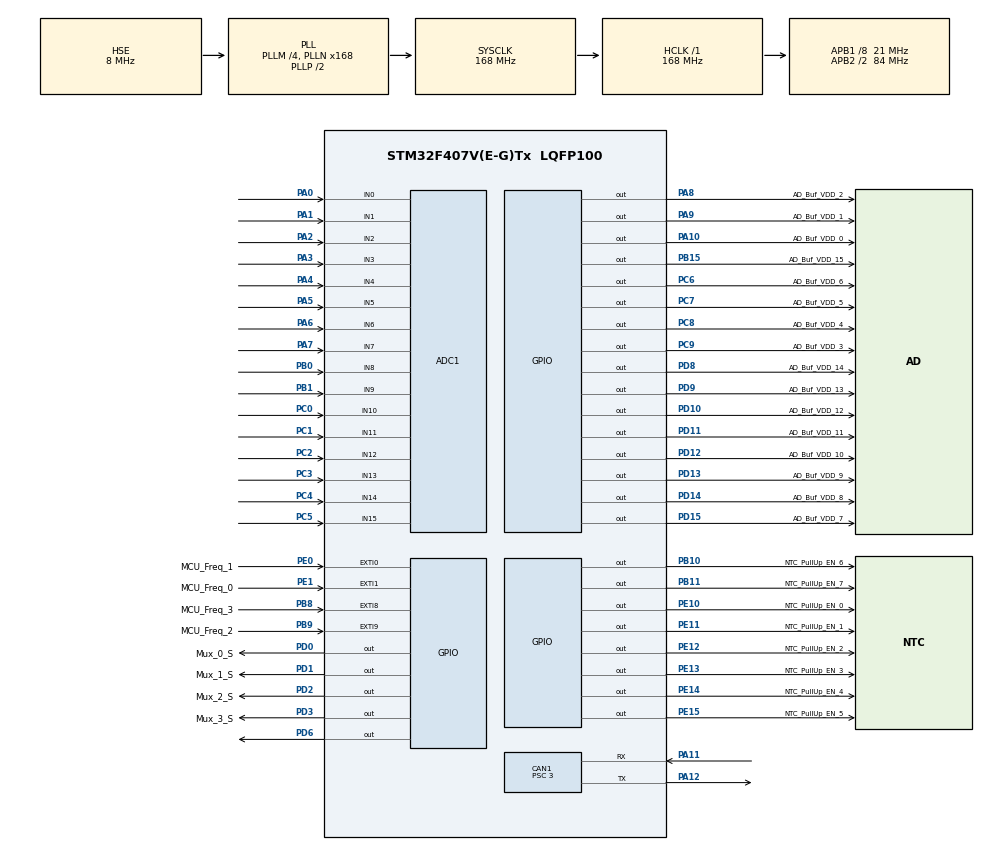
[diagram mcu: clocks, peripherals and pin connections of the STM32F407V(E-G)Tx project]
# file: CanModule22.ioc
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ADC1.Channel-0\#ChannelRegularConversion=ADC_CHANNEL_0
ADC1.Channel-10\#ChannelRegularConversion=ADC_CHANNEL_6
ADC1.Channel-11\#ChannelRegularConversion=ADC_CHANNEL_7
ADC1.Channel-12\#ChannelRegularConversion=ADC_CHANNEL_8
ADC1.Channel-13\#ChannelRegularConversion=ADC_CHANNEL_9
ADC1.Channel-14\#ChannelRegularConversion=ADC_CHANNEL_10
ADC1.Channel-15\#ChannelRegularConversion=ADC_CHANNEL_11
ADC1.Channel-16\#ChannelRegularConversion=ADC_CHANNEL_12
ADC1.Channel-17\#ChannelRegularConversion=ADC_CHANNEL_13
ADC1.Channel-18\#ChannelRegularConversion=ADC_CHANNEL_14
ADC1.Channel-19\#ChannelRegularConversion=ADC_CHANNEL_15
ADC1.Channel-5\#ChannelRegularConversion=ADC_CHANNEL_1
ADC1.Channel-6\#ChannelRegularConversion=ADC_CHANNEL_2
ADC1.Channel-7\#ChannelRegularConversion=ADC_CHANNEL_3
ADC1.Channel-8\#ChannelRegularConversion=ADC_CHANNEL_4
ADC1.Channel-9\#ChannelRegularConversion=ADC_CHANNEL_5
ADC1.ClockPrescaler=ADC_CLOCK_SYNC_PCLK_DIV4
ADC1.ContinuousConvMode=ENABLE
ADC1.DMAContinuousRequests=ENABLE
ADC1.EOCSelection=ADC_EOC_SINGLE_CONV
ADC1.InjNumberOfConversion=0
ADC1.NbrOfConversion=16
ADC1.NbrOfConversionFlag=1
ADC1.Rank-0\#ChannelRegularConversion=1
ADC1.Rank-10\#ChannelRegularConversion=7
ADC1.Rank-11\#ChannelRegularConversion=8
ADC1.Rank-12\#ChannelRegularConversion=9
ADC1.Rank-13\#ChannelRegularConversion=10
ADC1.Rank-14\#ChannelRegularConversion=11
ADC1.Rank-15\#ChannelRegularConversion=12
ADC1.Rank-16\#ChannelRegularConversion=13
ADC1.Rank-17\#ChannelRegularConversion=14
ADC1.Rank-18\#ChannelRegularConversion=15
ADC1.Rank-19\#ChannelRegularConversion=16
ADC1.Rank-5\#ChannelRegularConversion=2
ADC1.Rank-6\#ChannelRegularConversion=3
ADC1.Rank-7\#ChannelRegularConversion=4
ADC1.Rank-8\#ChannelRegularConversion=5
ADC1.Rank-9\#ChannelRegularConversion=6
ADC1.SamplingTime-0\#ChannelRegularConversion=ADC_SAMPLETIME_3CYCLES
ADC1.SamplingTime-10\#ChannelRegularConversion=ADC_SAMPLETIME_3CYCLES
ADC1.SamplingTime-11\#ChannelRegularConversion=ADC_SAMPLETIME_3CYCLES
ADC1.SamplingTime-12\#ChannelRegularConversion=ADC_SAMPLETIME_3CYCLES
ADC1.SamplingTime-13\#ChannelRegularConversion=ADC_SAMPLETIME_3CYCLES
ADC1.SamplingTime-14\#ChannelRegularConversion=ADC_SAMPLETIME_3CYCLES
ADC1.SamplingTime-15\#ChannelRegularConversion=ADC_SAMPLETIME_3CYCLES
ADC1.SamplingTime-16\#ChannelRegularConversion=ADC_SAMPLETIME_3CYCLES
ADC1.SamplingTime-17\#ChannelRegularConversion=ADC_SAMPLETIME_3CYCLES
ADC1.SamplingTime-18\#ChannelRegularConversion=ADC_SAMPLETIME_3CYCLES
ADC1.SamplingTime-19\#ChannelRegularConversion=ADC_SAMPLETIME_3CYCLES
ADC1.SamplingTime-5\#ChannelRegularConversion=ADC_SAMPLETIME_3CYCLES
ADC1.SamplingTime-6\#ChannelRegularConversion=ADC_SAMPLETIME_3CYCLES
ADC1.SamplingTime-7\#ChannelRegularConversion=ADC_SAMPLETIME_3CYCLES
ADC1.SamplingTime-8\#ChannelRegularConversion=ADC_SAMPLETIME_3CYCLES
ADC1.SamplingTime-9\#ChannelRegularConversion=ADC_SAMPLETIME_3CYCLES
ADC1.master=1
CAN1.ABOM=DISABLE
CAN1.BS1=CAN_BS1_3TQ
CAN1.BS2=CAN_BS2_3TQ
CAN1.CalculateBaudRate=1000000
CAN1.CalculateTimeBit=1000
CAN1.CalculateTimeQuantum=142.85714285714286
CAN1.Mode=CAN_MODE_NORMAL
CAN1.NART=ENABLE
CAN1.Prescaler=3
Dma.ADC1.0.Direction=DMA_PERIPH_TO_MEMORY
Dma.ADC1.0.FIFOMode=DMA_FIFOMODE_DISABLE
Dma.ADC1.0.Instance=DMA2_Stream0
Dma.ADC1.0.MemDataAlignment=DMA_MDATAALIGN_WORD
Dma.ADC1.0.MemInc=DMA_MINC_ENABLE
Dma.ADC1.0.Mode=DMA_CIRCULAR
Dma.ADC1.0.PeriphDataAlignment=DMA_PDATAALIGN_WORD
Dma.ADC1.0.PeriphInc=DMA_PINC_DISABLE
Dma.ADC1.0.Priority=DMA_PRIORITY_VERY_HIGH
Dma.Request0=ADC1
IWDG.Reload=999
Mcu.Family=STM32F4
Mcu.Name=STM32F407V(E-G)Tx
Mcu.Package=LQFP100
NVIC.DMA2_Stream0_IRQn=true\:1\:0\:true\:true\:true\:1\:false\:true\:true
NVIC.EXTI0_IRQn=true\:0\:0\:true\:false\:true\:true\:true\:true
NVIC.EXTI1_IRQn=true\:0\:0\:true\:false\:true\:true\:true\:true
NVIC.EXTI9_5_IRQn=true\:0\:0\:true\:false\:true\:true\:true\:true
NVIC.PriorityGroup=NVIC_PRIORITYGROUP_4
NVIC.TIM4_IRQn=true\:0\:0\:true\:false\:true\:true\:true\:true
PA0-WKUP.Signal=ADCx_IN0
PA1.Signal=ADCx_IN1
PA10.GPIO_Label=AD_Buf_VDD_0
PA10.PinState=GPIO_PIN_SET
PA10.Signal=GPIO_Output
PA11.Mode=CAN_Activate
PA11.Signal=CAN1_RX
PA12.Mode=CAN_Activate
PA12.Signal=CAN1_TX
PA13.Mode=Serial_Wire
PA13.Signal=SYS_JTMS-SWDIO
PA14.Mode=Serial_Wire
PA14.Signal=SYS_JTCK-SWCLK
PA2.Signal=ADCx_IN2
PA3.Signal=ADCx_IN3
PA4.Signal=ADCx_IN4
PA5.Signal=ADCx_IN5
PA6.Signal=ADCx_IN6
PA7.Signal=ADCx_IN7
PA8.GPIO_Label=AD_Buf_VDD_2
PA8.PinState=GPIO_PIN_SET
PA8.Signal=GPIO_Output
PA9.GPIO_Label=AD_Buf_VDD_1
PA9.PinState=GPIO_PIN_SET
PA9.Signal=GPIO_Output
PB0.Signal=ADCx_IN8
PB1.Signal=ADCx_IN9
PB10.GPIO_Label=NTC_PullUp_EN_6
PB10.GPIO_ModeDefaultOutputPP=GPIO_MODE_OUTPUT_OD
PB10.GPIO_PuPd=GPIO_NOPULL
PB10.PinState=GPIO_PIN_RESET
PB10.Signal=GPIO_Output
PB11.GPIO_Label=NTC_PullUp_EN_7
PB11.GPIO_ModeDefaultOutputPP=GPIO_MODE_OUTPUT_OD
PB11.GPIO_PuPd=GPIO_NOPULL
PB11.PinState=GPIO_PIN_SET
PB11.Signal=GPIO_Output
PB15.GPIO_Label=AD_Buf_VDD_15
PB15.PinState=GPIO_PIN_SET
PB15.Signal=GPIO_Output
PB8.GPIO_Label=MCU_Freq_3
PB8.Signal=GPXTI8
PB9.GPIO_Label=MCU_Freq_2
PB9.Signal=GPXTI9
PC0.Signal=ADCx_IN10
PC1.Signal=ADCx_IN11
PC14-OSC32_IN.Mode=LSE-External-Oscillator
PC14-OSC32_IN.Signal=RCC_OSC32_IN
PC15-OSC32_OUT.Mode=LSE-External-Oscillator
PC15-OSC32_OUT.Signal=RCC_OSC32_OUT
PC2.Signal=ADCx_IN12
PC3.Signal=ADCx_IN13
PC4.Signal=ADCx_IN14
PC5.Signal=ADCx_IN15
PC6.GPIO_Label=AD_Buf_VDD_6
PC6.PinState=GPIO_PIN_SET
PC6.Signal=GPIO_Output
PC7.GPIO_Label=AD_Buf_VDD_5
PC7.PinState=GPIO_PIN_SET
PC7.Signal=GPIO_Output
PC8.GPIO_Label=AD_Buf_VDD_4
PC8.PinState=GPIO_PIN_SET
PC8.Signal=GPIO_Output
PC9.GPIO_Label=AD_Buf_VDD_3
PC9.PinState=GPIO_PIN_SET
PC9.Signal=GPIO_Output
PD0.GPIO_Label=Mux_0_S
PD0.PinState=GPIO_PIN_SET
PD0.Signal=GPIO_Output
PD1.GPIO_Label=Mux_1_S
PD1.PinState=GPIO_PIN_SET
PD1.Signal=GPIO_Output
PD10.GPIO_Label=AD_Buf_VDD_12
PD10.PinState=GPIO_PIN_SET
PD10.Signal=GPIO_Output
PD11.GPIO_Label=AD_Buf_VDD_11
PD11.PinState=GPIO_PIN_SET
PD11.Signal=GPIO_Output
PD12.GPIO_Label=AD_Buf_VDD_10
PD12.PinState=GPIO_PIN_SET
PD12.Signal=GPIO_Output
PD13.GPIO_Label=AD_Buf_VDD_9
PD13.PinState=GPIO_PIN_SET
PD13.Signal=GPIO_Output
PD14.GPIO_Label=AD_Buf_VDD_8
PD14.PinState=GPIO_PIN_SET
PD14.Signal=GPIO_Output
PD15.GPIO_Label=AD_Buf_VDD_7
PD15.PinState=GPIO_PIN_SET
PD15.Signal=GPIO_Output
PD2.GPIO_Label=Mux_2_S
PD2.PinState=GPIO_PIN_RESET
PD2.Signal=GPIO_Output
PD3.GPIO_Label=Mux_3_S
PD3.PinState=GPIO_PIN_RESET
PD3.Signal=GPIO_Output
PD6.Signal=GPIO_Output
PD8.GPIO_Label=AD_Buf_VDD_14
PD8.PinState=GPIO_PIN_SET
PD8.Signal=GPIO_Output
PD9.GPIO_Label=AD_Buf_VDD_13
PD9.PinState=GPIO_PIN_SET
PD9.Signal=GPIO_Output
PE0.GPIO_Label=MCU_Freq_1
PE0.GPIO_ModeDefaultEXTI=GPIO_MODE_IT_RISING
PE0.Signal=GPXTI0
PE1.GPIO_Label=MCU_Freq_0
PE1.GPIO_ModeDefaultEXTI=GPIO_MODE_IT_RISING
PE1.Signal=GPXTI1
PE10.GPIO_Label=NTC_PullUp_EN_0
PE10.GPIO_ModeDefaultOutputPP=GPIO_MODE_OUTPUT_OD
PE10.GPIO_PuPd=GPIO_NOPULL
PE10.PinState=GPIO_PIN_RESET
PE10.Signal=GPIO_Output
PE11.GPIO_Label=NTC_PullUp_EN_1
PE11.GPIO_ModeDefaultOutputPP=GPIO_MODE_OUTPUT_OD
PE11.GPIO_PuPd=GPIO_NOPULL
PE11.PinState=GPIO_PIN_SET
PE11.Signal=GPIO_Output
PE12.GPIO_Label=NTC_PullUp_EN_2
PE12.GPIO_ModeDefaultOutputPP=GPIO_MODE_OUTPUT_OD
PE12.GPIO_PuPd=GPIO_NOPULL
PE12.PinState=GPIO_PIN_SET
PE12.Signal=GPIO_Output
PE13.GPIO_Label=NTC_PullUp_EN_3
PE13.GPIO_ModeDefaultOutputPP=GPIO_MODE_OUTPUT_OD
PE13.GPIO_PuPd=GPIO_NOPULL
PE13.PinState=GPIO_PIN_RESET
PE13.Signal=GPIO_Output
PE14.GPIO_Label=NTC_PullUp_EN_4
PE14.GPIO_ModeDefaultOutputPP=GPIO_MODE_OUTPUT_OD
PE14.GPIO_PuPd=GPIO_NOPULL
PE14.PinState=GPIO_PIN_SET
PE14.Signal=GPIO_Output
PE15.GPIO_Label=NTC_PullUp_EN_5
PE15.GPIO_ModeDefaultOutputPP=GPIO_MODE_OUTPUT_OD
PE15.GPIO_PuPd=GPIO_NOPULL
PE15.PinState=GPIO_PIN_SET
PE15.Signal=GPIO_Output
PH0-OSC_IN.Mode=HSE-External-Oscillator
PH0-OSC_IN.Signal=RCC_OSC_IN
PH1-OSC_OUT.Mode=HSE-External-Oscillator
PH1-OSC_OUT.Signal=RCC_OSC_OUT
ProjectManager.HeapSize=0x200
ProjectManager.StackSize=0x400
ProjectManager.TargetToolchain=CMake
RCC.48MHZClocksFreq_Value=84000000
RCC.AHBFreq_Value=168000000
RCC.APB1CLKDivider=RCC_HCLK_DIV8
RCC.APB1Freq_Value=21000000
RCC.APB1TimFreq_Value=42000000
RCC.APB2CLKDivider=RCC_HCLK_DIV2
RCC.APB2Freq_Value=84000000
RCC.APB2TimFreq_Value=168000000
RCC.CortexFreq_Value=168000000
RCC.HCLKFreq_Value=168000000
RCC.HSE_VALUE=8000000
RCC.HSI_VALUE=16000000
RCC.PLLM=4
RCC.PLLN=168
RCC.PLLSourceVirtual=RCC_PLLSOURCE_HSE
RCC.RCC_RTC_Clock_Source=RCC_RTCCLKSOURCE_LSI
RCC.RCC_RTC_Clock_SourceVirtual=RCC_RTCCLKSOURCE_LSI
RCC.SYSCLKFreq_VALUE=168000000
RCC.SYSCLKSource=RCC_SYSCLKSOURCE_PLLCLK
RCC.VCOOutputFreq_Value=336000000
SH.ADCx_IN0.0=ADC1_IN0,IN0
SH.ADCx_IN1.0=ADC1_IN1,IN1
SH.ADCx_IN10.0=ADC1_IN10,IN10
SH.ADCx_IN11.0=ADC1_IN11,IN11
SH.ADCx_IN12.0=ADC1_IN12,IN12
SH.ADCx_IN13.0=ADC1_IN13,IN13
SH.ADCx_IN14.0=ADC1_IN14,IN14
SH.ADCx_IN15.0=ADC1_IN15,IN15
SH.ADCx_IN2.0=ADC1_IN2,IN2
SH.ADCx_IN3.0=ADC1_IN3,IN3
SH.ADCx_IN4.0=ADC1_IN4,IN4
SH.ADCx_IN5.0=ADC1_IN5,IN5
SH.ADCx_IN6.0=ADC1_IN6,IN6
SH.ADCx_IN7.0=ADC1_IN7,IN7
SH.ADCx_IN8.0=ADC1_IN8,IN8
SH.ADCx_IN9.0=ADC1_IN9,IN9
TIM4.AutoReloadPreload=TIM_AUTORELOAD_PRELOAD_DISABLE
TIM4.Period=1
TIM4.Prescaler=21000-1
VP_IWDG_VS_IWDG.Mode=IWDG_Activate
VP_TIM4_VS_ClockSourceINT.Mode=Internal
board=custom

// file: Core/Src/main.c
/* USER CODE BEGIN Header */
/**
  ******************************************************************************
  * @file           : main.c
  * @brief          : Main program body
  ******************************************************************************
  * @attention
  *
  * Copyright (c) 2022 STMicroelectronics.
  * All rights reserved.
  *
  * This software is licensed under terms that can be found in the LICENSE file
  * in the root directory of this software component.
  * If no LICENSE file comes with this software, it is provided AS-IS.
  *
  ******************************************************************************
  */
/* USER CODE END Header */
#include "main.h"

/* USER CODE BEGIN Includes */
#include "math.h"
/* USER CODE END Includes */

 ADC_HandleTypeDef hadc1;
DMA_HandleTypeDef hdma_adc1;

CAN_HandleTypeDef hcan1;

IWDG_HandleTypeDef hiwdg;

TIM_HandleTypeDef htim4;

/* USER CODE BEGIN PV */
CAN_RxHeaderTypeDef   RxHeader;
CAN_RxHeaderTypeDef   RxHeader1;
uint8_t               RxData[8];
uint8_t               RxData1[8];

uint8_t CAN_BUFFER_SIZE = 8;
CAN_TxHeaderTypeDef Tx1Header;
CAN_TxHeaderTypeDef Tx2Header;

uint8_t TxData_CAN1[8] = {0};
uint8_t TxData_CAN2[8] = {0};
uint8_t TxData_CAN3[8] = {0};
uint8_t TxData_CAN4[6] = {0};

uint32_t TX_ID1 = 30; //0x1E
uint32_t TX_ID2 = 31; //0x1F
uint32_t TX_ID3 = 32; //0x20
uint32_t TX_ID4 = 33; //0x21

uint8_t TxTime1 = 9; //111Hz
uint8_t TxTime2 = 1; //1000Hz
uint8_t TxTime3 = 10; //100Hz
uint8_t TxTime4 = 11; //90Hz

CAN_FilterTypeDef sFilterConfig;
uint32_t mailbox;
uint32_t mailbox1;

uint16_t averageCnt_ms = 0;
uint16_t ms1 = 0;
uint16_t ms2 = 0;
uint16_t ms3 = 0;
uint16_t ms4 = 0;
uint16_t whl_spd_deadzone = 650;

uint8_t averageCount = 5;
volatile uint8_t channel = 0;
volatile uint32_t averageTemp = 0;
volatile uint32_t averageValue[16]= {0};
volatile uint16_t Voltage[16]= {0};
uint32_t AD_DMA[16] = {0};

uint16_t Vref_5V = 4998;
uint16_t Rntc[8] = {0};

uint16_t emap_1 = 0;
uint16_t emap_2 = 0;
uint16_t map = 0;

uint16_t BrakepressRear = 0;
double WspdRR = 0;
double WspdRL = 0;
double WspdFR = 0;
double WspdFL = 0;
uint8_t numOfWhlSpdTrig = 8;
uint16_t suspotRL = 0;
uint16_t suspotRR = 0;
uint16_t CoolanttempLower = 0;
uint16_t Coolantpressure = 0;
uint16_t Oilpress = 0;
uint16_t Oiltemp = 0;
uint16_t EXTRA1 = 0;
uint16_t EXTRA2 = 0;
uint16_t EXTRA3 = 0;
uint16_t EXTRA4 = 0;
uint16_t EXTRA5 = 0;
uint16_t EXTRA6 = 0;
uint16_t EXTRA7 = 0;
//Taajuusmittaus
uint8_t rpm_ch0_trig = 0;
uint8_t rpm_ch1_trig = 0;
uint8_t rpm_ch2_trig = 0;
uint8_t rpm_ch3_trig = 0;

uint8_t enableRPM[4] = {0};

double rpm_ave_0 = 0;
double rpm_ave_1 = 0;
double rpm_ave_2 = 0;
double rpm_ave_3 = 0;
double rpm_ave_01 = 0;
double rpm_ave_11 = 0;
double rpm_ave_21 = 0;
double rpm_ave_31 = 0;
uint8_t rpm_count = 5;
uint8_t rpm_ave_count_0 = 0;
uint8_t rpm_ave_count_1 = 0;
uint8_t rpm_ave_count_2 = 0;
uint8_t rpm_ave_count_3 = 0;

uint16_t rpm_ch0_ms = 0;
uint16_t rpm_ch1_ms = 0;
uint16_t rpm_ch2_ms = 0;
uint16_t rpm_ch3_ms = 0;
uint8_t rpm_first = 1;
uint16_t ms25 = 0;
uint16_t sec = 0;
/*bool BrakepressRearVD = false;
bool WspdRRMUX = false;
bool WspdRLMUX = false;
bool suspotRLVD = false;
bool suspotRRVD = false;
bool EXTRA1VD = false;
bool EXTRA1MUX = false;
bool EXTRA2VD = false;
bool EXTRA2MUX = false;
bool EXTRA3VD = false;
bool CoolanttemplowerVD = false;
bool CoolanttemplowerPU = false;
bool CoolantpressureVD = false;
bool CoolantpressurePU = false;
bool OilpressVD = false;
bool OilpressPU = false;
bool oiltempVD = false;
bool oiltempPU = false;
bool EXTRA4VD = false;
bool EXTRA4PU = false;
bool EXTRA5VD = false;
bool EXTRA5PU = false;
bool EXTRA6VD = false;
bool EXTRA6PU = false;
bool EXTRA7VD = false;
bool EXTRA7PU = false;*/
/* USER CODE END PV */

void SystemClock_Config(void);
static void MX_GPIO_Init(void);
static void MX_DMA_Init(void);
static void MX_ADC1_Init(void);
static void MX_CAN1_Init(void);
static void MX_TIM4_Init(void);
static void MX_IWDG_Init(void);
static void MX_NVIC_Init(void);
/* USER CODE BEGIN PFP */
void CanDataTx_CAN(uint16_t);
void ADC_ValueAverage(void);
void HAL_CAN_RxFifo0MsgPendingCallback(CAN_HandleTypeDef *hcan1);
void HAL_CAN_RxFifo1MsgPendingCallback(CAN_HandleTypeDef *hcan2);
/* USER CODE END PFP */

/* USER CODE BEGIN 0 */
void HAL_TIM_PeriodElapsedCallback(TIM_HandleTypeDef *htim)
{
	if(htim->Instance==TIM4)
	{
		ms1++;
		ms2++;
		ms3++;
		ms4++;
		ms25++;
		if(ms25 == 1000){
			sec++; ms25 = 0;
		}
		//ADC_ValueAverage();

		//tenth_ms1++;
		if(rpm_first == 0){
			rpm_ch0_ms++;
			rpm_ch1_ms++;
			rpm_ch2_ms++;
			rpm_ch3_ms++;
		}
		if(rpm_ch0_ms > whl_spd_deadzone)
			WspdRR = 0;
		if(rpm_ch1_ms > whl_spd_deadzone)
			WspdRL = 0;
		if(rpm_ch2_ms > whl_spd_deadzone)
			WspdFR = 0;
		if(rpm_ch3_ms > whl_spd_deadzone)
			WspdFL = 0;
	}

	if(ms1 >= TxTime1)
	{
		CAN_BUFFER_SIZE = sizeof TxData_CAN1;
		CanDataTx_CAN(TX_ID1);
		if(HAL_CAN_GetTxMailboxesFreeLevel(&hcan1) != 0){
			HAL_CAN_AddTxMessage(&hcan1, &Tx1Header, TxData_CAN1, &mailbox);
			HAL_IWDG_Refresh(&hiwdg);
		}
		else{
			HAL_CAN_AbortTxRequest(&hcan1, 0);
			HAL_CAN_AbortTxRequest(&hcan1, 1);
			HAL_CAN_AbortTxRequest(&hcan1, 2);
		}
		//HAL_CAN_AddTxMessage(&hcan2, &Tx1Header, TxData_CAN3, &mailbox);

		ms1 = 0;
	}
	if(ms2 >= TxTime2)
	{
		CAN_BUFFER_SIZE = sizeof TxData_CAN2;
		CanDataTx_CAN(TX_ID2);
		if(HAL_CAN_GetTxMailboxesFreeLevel(&hcan1) != 0){
			HAL_CAN_AddTxMessage(&hcan1, &Tx1Header, TxData_CAN2, &mailbox);
			HAL_IWDG_Refresh(&hiwdg);
		}
		else{
			HAL_CAN_AbortTxRequest(&hcan1, 0);
			HAL_CAN_AbortTxRequest(&hcan1, 1);
			HAL_CAN_AbortTxRequest(&hcan1, 2);
		}
		ms2 = 0;
	}
	if(ms3 >= TxTime3)
	{
		CAN_BUFFER_SIZE = sizeof TxData_CAN3;
		CanDataTx_CAN(TX_ID3);
		if(HAL_CAN_GetTxMailboxesFreeLevel(&hcan1) != 0){
			HAL_CAN_AddTxMessage(&hcan1, &Tx1Header, TxData_CAN3, &mailbox);
			HAL_IWDG_Refresh(&hiwdg);
		}
		else{
			HAL_CAN_AbortTxRequest(&hcan1, 0);
			HAL_CAN_AbortTxRequest(&hcan1, 1);
			HAL_CAN_AbortTxRequest(&hcan1, 2);
		}
		ms3 = 0;
	}
	if(ms4 >= TxTime4)
	{
		CAN_BUFFER_SIZE = sizeof TxData_CAN4;
		CanDataTx_CAN(TX_ID4);
		if(HAL_CAN_GetTxMailboxesFreeLevel(&hcan1) != 0){
			HAL_CAN_AddTxMessage(&hcan1, &Tx1Header, TxData_CAN4, &mailbox);
			HAL_IWDG_Refresh(&hiwdg);
		}
		else{
			HAL_CAN_AbortTxRequest(&hcan1, 0);
			HAL_CAN_AbortTxRequest(&hcan1, 1);
			HAL_CAN_AbortTxRequest(&hcan1, 2);
		}
		ms4 = 0;
	}
	if(enableRPM[0]){

		if(rpm_ch0_trig == 0){
			rpm_ave_0 = (((double)1/((double)rpm_ch0_ms/1000))/numOfWhlSpdTrig)*60;
			rpm_ch0_trig = 1;
			rpm_ch0_ms = 0;

			if(rpm_ave_count_0 < rpm_count){
				rpm_ave_01 = rpm_ave_0 + rpm_ave_01;
				rpm_ave_count_0++;
			}
			if(rpm_ave_count_0 == rpm_count){
				WspdRR = ((rpm_ave_01/rpm_count)/6) * 1.477 * 3.6; // (2*pi*(tire D/2))*(rpm/60)
				rpm_ave_01 = 0;
				rpm_ave_count_0 = 0;
			}
		}
	}
	if(enableRPM[1]){

		if(rpm_ch1_trig == 0){
			rpm_ave_1 = (((double)1/((double)rpm_ch1_ms/1000))/numOfWhlSpdTrig)*60;
			rpm_ch1_trig = 1;
			rpm_ch1_ms = 0;

			if(rpm_ave_count_1 < rpm_count){
				rpm_ave_11 = rpm_ave_1 + rpm_ave_11;
				rpm_ave_count_1++;
			}
			if(rpm_ave_count_1 == rpm_count){
				WspdRL = ((rpm_ave_11/rpm_count)/6) * 1.477 * 3.6; // (2*pi*(tire D/2))*(rpm/60)
				rpm_ave_11 = 0;
				rpm_ave_count_1 = 0;
			}
		}
	}
	if(enableRPM[2]){
		// NOT USED FOR FRONT WHEEL SPEED SENSOR. THIS IS AN EXTRA FREQ INPUT RPM CALCULATION!
		if(rpm_ch2_trig == 0){
			EXTRA2 = (((double)1/((double)rpm_ch2_ms/1000))/numOfWhlSpdTrig)*60;
			rpm_ch2_trig = 1;
			rpm_ch2_ms = 0;

			if(rpm_ave_count_2 < rpm_count){
				rpm_ave_21 = rpm_ave_2 + rpm_ave_21;
				rpm_ave_count_2++;
			}
			if(rpm_ave_count_2 == rpm_count){
				EXTRA2 = rpm_ave_21/rpm_count;
				rpm_ave_21 = 0;
				rpm_ave_count_2 = 0;
			}
		}
	}
	if(enableRPM[3]){
		// NOT USED FOR FRONT WHEEL SPEED SENSOR. THIS IS AN EXTRA FREQ INPUT RPM CALCULATION!
		if(rpm_ch3_trig == 0){
			EXTRA1= (((double)1/((double)rpm_ch3_ms/1000))/numOfWhlSpdTrig)*60;
			rpm_ch3_trig = 1;
			rpm_ch3_ms = 0;

			if(rpm_ave_count_3 < rpm_count){
				rpm_ave_31 = rpm_ave_3 + rpm_ave_31;
				rpm_ave_count_3++;
			}
			if(rpm_ave_count_3 == rpm_count){
				EXTRA1 = rpm_ave_31/rpm_count;
				rpm_ave_31 = 0;
				rpm_ave_count_3 = 0;
			}
		}
	}
}

/* USER CODE END 0 */

int main(void)
{
  /* USER CODE BEGIN 1 */
	 //HAL_GPIO_WritePin(GPIOA, GPIO_PIN_8, GPIO_PIN_SET);
  /* USER CODE END 1 */

  /* MCU Configuration--------------------------------------------------------*/

  /* Reset of all peripherals, Initializes the Flash interface and the Systick. */
  HAL_Init();

  /* Configure the system clock */
  SystemClock_Config();

  /* USER CODE BEGIN SysInit */
	HAL_Delay(2000);
  /* USER CODE END SysInit */

  /* Initialize all configured peripherals */
  MX_GPIO_Init();
  MX_DMA_Init();
  MX_ADC1_Init();
  MX_CAN1_Init();
  MX_TIM4_Init();
  MX_IWDG_Init();

  /* Initialize interrupts */
  MX_NVIC_Init();
  /* USER CODE BEGIN 2 */

	//J�rjestys
	//MX_DMA_Init();
  //MX_ADC1_Init();

	//HAL_ADCEx_Calibration_Start(&hadc1);
	HAL_TIM_Base_Start_IT(&htim4);
	HAL_ADC_Start_DMA(&hadc1, AD_DMA, 16);

  //HAL_TIM_IC_Start_IT(&htim10, TIM_CHANNEL_1);
  /* USER CODE END 2 */

  /* Infinite loop */
  /* USER CODE BEGIN WHILE */
	//read mux set pins
	enableRPM[0] = HAL_GPIO_ReadPin(Mux_0_S_GPIO_Port, Mux_0_S_Pin);
	enableRPM[1] = HAL_GPIO_ReadPin(Mux_1_S_GPIO_Port, Mux_1_S_Pin);
	enableRPM[2] = HAL_GPIO_ReadPin(Mux_2_S_GPIO_Port, Mux_2_S_Pin);
	enableRPM[3] = HAL_GPIO_ReadPin(Mux_3_S_GPIO_Port, Mux_3_S_Pin);

  while (1)
  {
    for(int i = 0; i < 16; i++){
			Voltage[i] = (AD_DMA[i] * 5050) / 4096;
		}
		//Voltage[8] = (averageValue[8] * 3300) / 4096;
		//Voltage[11] = (averageValue[11] * 3300) / 4096;
		Voltage[1] = (AD_DMA[1] - 1296) * 1.793; //compensate offset from adc channel 1

		if(Voltage[0] > 500)
			BrakepressRear = (uint16_t)(0.035*(double)Voltage[0]-17.5);
		else
			BrakepressRear = 0;
		//BrakepressRear = Voltage[0];

		suspotRL = Voltage[1];
		suspotRR = Voltage[2];

		//CoolanttempLower = (uint16_t)(round((-41.88*log((float)averageValue[8])+612.43)));

		Rntc[0] = ((double)Voltage[8]/((Vref_5V-(double)Voltage[8])/2400))-1000;
		CoolanttempLower = (uint8_t)(round(((-33.14*log(Rntc[0]))+274.35)));

    if(Voltage[9] > 500) {
      Coolantpressure = (uint8_t)(0.025*(double)Voltage[9]-12.5);
    } else {
      Coolantpressure = 0;
    }
    if(Voltage[10] > 500) {
      Oilpress = (uint16_t)(0.025*(double)Voltage[10]-12.5);
    } else {
      Oilpress = 0;
    }

		//Oiltemp = (uint16_t)(round((-41.88*log((float)averageValue[11])+612.43)));
		//Oiltemp = (uint16_t)(round(-37.36*log(((2400*5.05)/(5.05-((double)Voltage[11]/1000))-3400))+297.61+274.15)/10);

		Rntc[1] = ((double)Voltage[11]/((Vref_5V-(double)Voltage[11])/2400))-1000;
		Oiltemp = (uint16_t)(round(((-33.14*log(Rntc[1]))+274.35)));

		/*
		if(HAL_GPIO_ReadPin(GPIOD, GPIO_PIN_2) == RESET){
			EXTRA1 = Voltage[6];}
		else if(HAL_GPIO_ReadPin(GPIOD, GPIO_PIN_2) == SET) {
			EXTRA1 = 0;}
		if(HAL_GPIO_ReadPin(GPIOD, GPIO_PIN_3) == RESET){
			EXTRA2 = Voltage[7];}
		else if(HAL_GPIO_ReadPin(GPIOD, GPIO_PIN_3) == SET){
			EXTRA2 = 0;}
		*/

		//emap_1 = (uint16_t)(0.025*(double)Voltage[7]-12.5);
		EXTRA2 = Voltage[7];

		//emap_2 = (uint16_t)(0.025*(double)Voltage[3]-12.5);
		EXTRA3 = Voltage[3];

		//map = (uint16_t)(0.0706*(double)Voltage[12]-28.235);
		EXTRA4 = Voltage[12];

		//EXTRA3 = Voltage[3];
		//EXTRA4 = Voltage[12];
		//Rntc[2] = ((double)Voltage[12]/((Vref_5V-(double)Voltage[12])/2400))-1000;

		EXTRA5 = Voltage[13];

		//EXTRA6 = Voltage[14];
		Rntc[2] = ((double)Voltage[14]/((Vref_5V-(double)Voltage[14])/2400))-1000;
		EXTRA6 = Rntc[2];

		EXTRA7 = Voltage[15];

		//First message data

		if(BrakepressRear < 200) {
			TxData_CAN1[0] = BrakepressRear & 0x00FF; //8 low bits
			TxData_CAN1[1] = BrakepressRear >> 8; //4 high bits
    }

		TxData_CAN1[2] = Oilpress & 0x00FF; //8 low bits
		TxData_CAN1[3] = Oilpress >> 8; //4 high bits

		TxData_CAN1[4] = Coolantpressure;
		TxData_CAN1[5] = CoolanttempLower;

		TxData_CAN1[6] = Oiltemp;

		//Second message data

		//Filter glitches from wheel speed
		if(WspdRL < 2000){
			TxData_CAN2[0] = (uint16_t)WspdRL & 0x00FF; //8 low bits
			TxData_CAN2[1] = (uint16_t)WspdRL >> 8; //4 high bits
		}
		if(WspdRR < 2000){
			TxData_CAN2[2] = (uint16_t)WspdRR & 0x00FF; //8 low bits
			TxData_CAN2[3] = (uint16_t)WspdRR >> 8; //4 high bits
		}

		if(suspotRL < 5500){
		TxData_CAN2[4] = suspotRL & 0x00FF; //8 low bits
		TxData_CAN2[5] = suspotRL >> 8; //4 high bits
		}
		if(suspotRR < 5500){
		TxData_CAN2[6] = suspotRR & 0x00FF; //8 low bits
		TxData_CAN2[7] = suspotRR >> 8; //4 high bits
		}

		//Third message data

		TxData_CAN3[0] = EXTRA1 & 0x00FF; //8 low bits
		TxData_CAN3[1] = EXTRA1 >> 8; //4 high bits

		TxData_CAN3[2] = EXTRA2 & 0x00FF; //4 high bits
		TxData_CAN3[3] = EXTRA2 >> 8; //8 low bits

		TxData_CAN3[4] = EXTRA3 & 0x00FF; //4 high bits
		TxData_CAN3[5] = EXTRA3 >> 8; //8 low bits

		TxData_CAN3[6] = EXTRA4 & 0x00FF; //4 high bits
		TxData_CAN3[7] = EXTRA4 >> 8; //8 low bits

		//Forth message data
		TxData_CAN4[0] = EXTRA5 & 0x00FF; //8 low bits
		TxData_CAN4[1] = EXTRA5 >> 8; //4 high bits

		TxData_CAN4[2] = EXTRA6 & 0x00FF; //8 low bits
		TxData_CAN4[3] = EXTRA6 >> 8; //4 high bits

		TxData_CAN4[4] = EXTRA7 & 0x00FF; //8 low bits
		TxData_CAN4[5] = EXTRA7 >> 8; //4 high bits

		HAL_Delay(1);
    /* USER CODE END WHILE */

  }
}

void SystemClock_Config(void)
{
  RCC_OscInitTypeDef RCC_OscInitStruct = {0};
  RCC_ClkInitTypeDef RCC_ClkInitStruct = {0};

  /** Configure the main internal regulator output voltage
  */
  __HAL_RCC_PWR_CLK_ENABLE();
  __HAL_PWR_VOLTAGESCALING_CONFIG(PWR_REGULATOR_VOLTAGE_SCALE1);

  /** Initializes the RCC Oscillators according to the specified parameters
  * in the RCC_OscInitTypeDef structure.
  */
  RCC_OscInitStruct.OscillatorType = RCC_OSCILLATORTYPE_LSI|RCC_OSCILLATORTYPE_HSE;
  RCC_OscInitStruct.HSEState = RCC_HSE_ON;
  RCC_OscInitStruct.LSIState = RCC_LSI_ON;
  RCC_OscInitStruct.PLL.PLLState = RCC_PLL_ON;
  RCC_OscInitStruct.PLL.PLLSource = RCC_PLLSOURCE_HSE;
  RCC_OscInitStruct.PLL.PLLM = 4;
  RCC_OscInitStruct.PLL.PLLN = 168;
  RCC_OscInitStruct.PLL.PLLP = RCC_PLLP_DIV2;
  RCC_OscInitStruct.PLL.PLLQ = 4;
  if (HAL_RCC_OscConfig(&RCC_OscInitStruct) != HAL_OK)
  {
    Error_Handler();
  }

  /** Initializes the CPU, AHB and APB buses clocks
  */
  RCC_ClkInitStruct.ClockType = RCC_CLOCKTYPE_HCLK|RCC_CLOCKTYPE_SYSCLK
                              |RCC_CLOCKTYPE_PCLK1|RCC_CLOCKTYPE_PCLK2;
  RCC_ClkInitStruct.SYSCLKSource = RCC_SYSCLKSOURCE_PLLCLK;
  RCC_ClkInitStruct.AHBCLKDivider = RCC_SYSCLK_DIV1;
  RCC_ClkInitStruct.APB1CLKDivider = RCC_HCLK_DIV8;
  RCC_ClkInitStruct.APB2CLKDivider = RCC_HCLK_DIV2;

  if (HAL_RCC_ClockConfig(&RCC_ClkInitStruct, FLASH_LATENCY_5) != HAL_OK)
  {
    Error_Handler();
  }
}

/**
  * @brief NVIC Configuration.
  * @retval None
  */
static void MX_NVIC_Init(void)
{
  /* DMA2_Stream0_IRQn interrupt configuration */
  HAL_NVIC_SetPriority(DMA2_Stream0_IRQn, 1, 0);
  HAL_NVIC_EnableIRQ(DMA2_Stream0_IRQn);
}

static void MX_ADC1_Init(void)
{

  ADC_ChannelConfTypeDef sConfig = {0};

  /** Configure the global features of the ADC (Clock, Resolution, Data Alignment and number of conversion)
  */
  hadc1.Instance = ADC1;
  hadc1.Init.ClockPrescaler = ADC_CLOCK_SYNC_PCLK_DIV4;
  hadc1.Init.Resolution = ADC_RESOLUTION_12B;
  hadc1.Init.ScanConvMode = ENABLE;
  hadc1.Init.ContinuousConvMode = ENABLE;
  hadc1.Init.DiscontinuousConvMode = DISABLE;
  hadc1.Init.ExternalTrigConvEdge = ADC_EXTERNALTRIGCONVEDGE_NONE;
  hadc1.Init.ExternalTrigConv = ADC_SOFTWARE_START;
  hadc1.Init.DataAlign = ADC_DATAALIGN_RIGHT;
  hadc1.Init.NbrOfConversion = 16;
  hadc1.Init.DMAContinuousRequests = ENABLE;
  hadc1.Init.EOCSelection = ADC_EOC_SINGLE_CONV;
  if (HAL_ADC_Init(&hadc1) != HAL_OK)
  {
    Error_Handler();
  }

  /** Configure for the selected ADC regular channel its corresponding rank in the sequencer and its sample time.
  */
  sConfig.Channel = ADC_CHANNEL_0;
  sConfig.Rank = 1;
  sConfig.SamplingTime = ADC_SAMPLETIME_3CYCLES;
  if (HAL_ADC_ConfigChannel(&hadc1, &sConfig) != HAL_OK)
  {
    Error_Handler();
  }

  /** Configure for the selected ADC regular channel its corresponding rank in the sequencer and its sample time.
  */
  sConfig.Channel = ADC_CHANNEL_1;
  sConfig.Rank = 2;
  if (HAL_ADC_ConfigChannel(&hadc1, &sConfig) != HAL_OK)
  {
    Error_Handler();
  }

  /** Configure for the selected ADC regular channel its corresponding rank in the sequencer and its sample time.
  */
  sConfig.Channel = ADC_CHANNEL_2;
  sConfig.Rank = 3;
  if (HAL_ADC_ConfigChannel(&hadc1, &sConfig) != HAL_OK)
  {
    Error_Handler();
  }

  /** Configure for the selected ADC regular channel its corresponding rank in the sequencer and its sample time.
  */
  sConfig.Channel = ADC_CHANNEL_3;
  sConfig.Rank = 4;
  if (HAL_ADC_ConfigChannel(&hadc1, &sConfig) != HAL_OK)
  {
    Error_Handler();
  }

  /** Configure for the selected ADC regular channel its corresponding rank in the sequencer and its sample time.
  */
  sConfig.Channel = ADC_CHANNEL_4;
  sConfig.Rank = 5;
  if (HAL_ADC_ConfigChannel(&hadc1, &sConfig) != HAL_OK)
  {
    Error_Handler();
  }

  /** Configure for the selected ADC regular channel its corresponding rank in the sequencer and its sample time.
  */
  sConfig.Channel = ADC_CHANNEL_5;
  sConfig.Rank = 6;
  if (HAL_ADC_ConfigChannel(&hadc1, &sConfig) != HAL_OK)
  {
    Error_Handler();
  }

  /** Configure for the selected ADC regular channel its corresponding rank in the sequencer and its sample time.
  */
  sConfig.Channel = ADC_CHANNEL_6;
  sConfig.Rank = 7;
  if (HAL_ADC_ConfigChannel(&hadc1, &sConfig) != HAL_OK)
  {
    Error_Handler();
  }

  /** Configure for the selected ADC regular channel its corresponding rank in the sequencer and its sample time.
  */
  sConfig.Channel = ADC_CHANNEL_7;
  sConfig.Rank = 8;
  if (HAL_ADC_ConfigChannel(&hadc1, &sConfig) != HAL_OK)
  {
    Error_Handler();
  }

  /** Configure for the selected ADC regular channel its corresponding rank in the sequencer and its sample time.
  */
  sConfig.Channel = ADC_CHANNEL_8;
  sConfig.Rank = 9;
  if (HAL_ADC_ConfigChannel(&hadc1, &sConfig) != HAL_OK)
  {
    Error_Handler();
  }

  /** Configure for the selected ADC regular channel its corresponding rank in the sequencer and its sample time.
  */
  sConfig.Channel = ADC_CHANNEL_9;
  sConfig.Rank = 10;
  if (HAL_ADC_ConfigChannel(&hadc1, &sConfig) != HAL_OK)
  {
    Error_Handler();
  }

  /** Configure for the selected ADC regular channel its corresponding rank in the sequencer and its sample time.
  */
  sConfig.Channel = ADC_CHANNEL_10;
  sConfig.Rank = 11;
  if (HAL_ADC_ConfigChannel(&hadc1, &sConfig) != HAL_OK)
  {
    Error_Handler();
  }

  /** Configure for the selected ADC regular channel its corresponding rank in the sequencer and its sample time.
  */
  sConfig.Channel = ADC_CHANNEL_11;
  sConfig.Rank = 12;
  if (HAL_ADC_ConfigChannel(&hadc1, &sConfig) != HAL_OK)
  {
    Error_Handler();
  }

  /** Configure for the selected ADC regular channel its corresponding rank in the sequencer and its sample time.
  */
  sConfig.Channel = ADC_CHANNEL_12;
  sConfig.Rank = 13;
  if (HAL_ADC_ConfigChannel(&hadc1, &sConfig) != HAL_OK)
  {
    Error_Handler();
  }

  /** Configure for the selected ADC regular channel its corresponding rank in the sequencer and its sample time.
  */
  sConfig.Channel = ADC_CHANNEL_13;
  sConfig.Rank = 14;
  if (HAL_ADC_ConfigChannel(&hadc1, &sConfig) != HAL_OK)
  {
    Error_Handler();
  }

  /** Configure for the selected ADC regular channel its corresponding rank in the sequencer and its sample time.
  */
  sConfig.Channel = ADC_CHANNEL_14;
  sConfig.Rank = 15;
  if (HAL_ADC_ConfigChannel(&hadc1, &sConfig) != HAL_OK)
  {
    Error_Handler();
  }

  /** Configure for the selected ADC regular channel its corresponding rank in the sequencer and its sample time.
  */
  sConfig.Channel = ADC_CHANNEL_15;
  sConfig.Rank = 16;
  if (HAL_ADC_ConfigChannel(&hadc1, &sConfig) != HAL_OK)
  {
    Error_Handler();
  }

}

static void MX_CAN1_Init(void)
{

  hcan1.Instance = CAN1;
  hcan1.Init.Prescaler = 3;
  hcan1.Init.Mode = CAN_MODE_NORMAL;
  hcan1.Init.SyncJumpWidth = CAN_SJW_1TQ;
  hcan1.Init.TimeSeg1 = CAN_BS1_3TQ;
  hcan1.Init.TimeSeg2 = CAN_BS2_3TQ;
  hcan1.Init.TimeTriggeredMode = DISABLE;
  hcan1.Init.AutoBusOff = DISABLE;
  hcan1.Init.AutoWakeUp = DISABLE;
  hcan1.Init.AutoRetransmission = ENABLE;
  hcan1.Init.ReceiveFifoLocked = DISABLE;
  hcan1.Init.TransmitFifoPriority = DISABLE;
  if (HAL_CAN_Init(&hcan1) != HAL_OK)
  {
    Error_Handler();
  }
  /* USER CODE BEGIN CAN1_Init 2 */
	/*##-2- Configure the CAN Filter ###########################################*/
sFilterConfig.FilterBank = 0;
sFilterConfig.FilterMode = CAN_FILTERMODE_IDMASK;
sFilterConfig.FilterScale = CAN_FILTERSCALE_32BIT;
sFilterConfig.FilterIdHigh = 0xFFFF;
sFilterConfig.FilterIdLow = 0x0000;
sFilterConfig.FilterMaskIdHigh = 0xFFFF;
sFilterConfig.FilterMaskIdLow = 0x0000;
sFilterConfig.FilterFIFOAssignment = CAN_FILTER_FIFO0;
sFilterConfig.FilterActivation = ENABLE;
sFilterConfig.SlaveStartFilterBank = 14;

if (HAL_CAN_ConfigFilter(&hcan1, &sFilterConfig) != HAL_OK)
{
/* Filter configuration Error */
Error_Handler();
}

/*##-3- Start the CAN peripheral ###########################################*/
if (HAL_CAN_Start(&hcan1) != HAL_OK)
{
/* Start Error */
Error_Handler();
}
if (HAL_CAN_ActivateNotification(&hcan1, CAN_IT_RX_FIFO0_MSG_PENDING | CAN_IT_TX_MAILBOX_EMPTY) != HAL_OK){
/* Notification Error */
Error_Handler();
}
  /* USER CODE END CAN1_Init 2 */

}

static void MX_IWDG_Init(void)
{

  hiwdg.Instance = IWDG;
  hiwdg.Init.Prescaler = IWDG_PRESCALER_4;
  hiwdg.Init.Reload = 999;
  if (HAL_IWDG_Init(&hiwdg) != HAL_OK)
  {
    Error_Handler();
  }

}

static void MX_TIM4_Init(void)
{

  TIM_ClockConfigTypeDef sClockSourceConfig = {0};
  TIM_MasterConfigTypeDef sMasterConfig = {0};

  htim4.Instance = TIM4;
  htim4.Init.Prescaler = 21000-1;
  htim4.Init.CounterMode = TIM_COUNTERMODE_UP;
  htim4.Init.Period = 1;
  htim4.Init.ClockDivision = TIM_CLOCKDIVISION_DIV1;
  htim4.Init.AutoReloadPreload = TIM_AUTORELOAD_PRELOAD_DISABLE;
  if (HAL_TIM_Base_Init(&htim4) != HAL_OK)
  {
    Error_Handler();
  }
  sClockSourceConfig.ClockSource = TIM_CLOCKSOURCE_INTERNAL;
  if (HAL_TIM_ConfigClockSource(&htim4, &sClockSourceConfig) != HAL_OK)
  {
    Error_Handler();
  }
  sMasterConfig.MasterOutputTrigger = TIM_TRGO_RESET;
  sMasterConfig.MasterSlaveMode = TIM_MASTERSLAVEMODE_DISABLE;
  if (HAL_TIMEx_MasterConfigSynchronization(&htim4, &sMasterConfig) != HAL_OK)
  {
    Error_Handler();
  }

}

static void MX_DMA_Init(void)
{

  /* DMA controller clock enable */
  __HAL_RCC_DMA2_CLK_ENABLE();

}

static void MX_GPIO_Init(void)
{
  GPIO_InitTypeDef GPIO_InitStruct = {0};

  /* GPIO Ports Clock Enable */
  __HAL_RCC_GPIOC_CLK_ENABLE();
  __HAL_RCC_GPIOH_CLK_ENABLE();
  __HAL_RCC_GPIOA_CLK_ENABLE();
  __HAL_RCC_GPIOB_CLK_ENABLE();
  __HAL_RCC_GPIOE_CLK_ENABLE();
  __HAL_RCC_GPIOD_CLK_ENABLE();

  /*Configure GPIO pin Output Level */
  HAL_GPIO_WritePin(GPIOE, NTC_PullUp_EN_0_Pin|NTC_PullUp_EN_3_Pin, GPIO_PIN_RESET);

  /*Configure GPIO pin Output Level */
  HAL_GPIO_WritePin(GPIOE, NTC_PullUp_EN_1_Pin|NTC_PullUp_EN_2_Pin|NTC_PullUp_EN_4_Pin|NTC_PullUp_EN_5_Pin, GPIO_PIN_SET);

  /*Configure GPIO pin Output Level */
  HAL_GPIO_WritePin(NTC_PullUp_EN_6_GPIO_Port, NTC_PullUp_EN_6_Pin, GPIO_PIN_RESET);

  /*Configure GPIO pin Output Level */
  HAL_GPIO_WritePin(GPIOB, NTC_PullUp_EN_7_Pin|AD_Buf_VDD_15_Pin, GPIO_PIN_SET);

  /*Configure GPIO pin Output Level */
  HAL_GPIO_WritePin(GPIOD, AD_Buf_VDD_14_Pin|AD_Buf_VDD_13_Pin|AD_Buf_VDD_12_Pin|AD_Buf_VDD_11_Pin
                          |AD_Buf_VDD_10_Pin|AD_Buf_VDD_9_Pin|AD_Buf_VDD_8_Pin|AD_Buf_VDD_7_Pin
                          |Mux_0_S_Pin|Mux_1_S_Pin, GPIO_PIN_SET);

  /*Configure GPIO pin Output Level */
  HAL_GPIO_WritePin(GPIOC, AD_Buf_VDD_6_Pin|AD_Buf_VDD_5_Pin|AD_Buf_VDD_4_Pin|AD_Buf_VDD_3_Pin, GPIO_PIN_SET);

  /*Configure GPIO pin Output Level */
  HAL_GPIO_WritePin(GPIOA, AD_Buf_VDD_2_Pin|AD_Buf_VDD_1_Pin|AD_Buf_VDD_0_Pin, GPIO_PIN_SET);

  /*Configure GPIO pin Output Level */
  HAL_GPIO_WritePin(GPIOD, Mux_2_S_Pin|Mux_3_S_Pin|GPIO_PIN_6, GPIO_PIN_RESET);

  /*Configure GPIO pins : NTC_PullUp_EN_0_Pin NTC_PullUp_EN_1_Pin NTC_PullUp_EN_2_Pin NTC_PullUp_EN_3_Pin
                           NTC_PullUp_EN_4_Pin NTC_PullUp_EN_5_Pin */
  GPIO_InitStruct.Pin = NTC_PullUp_EN_0_Pin|NTC_PullUp_EN_1_Pin|NTC_PullUp_EN_2_Pin|NTC_PullUp_EN_3_Pin
                          |NTC_PullUp_EN_4_Pin|NTC_PullUp_EN_5_Pin;
  GPIO_InitStruct.Mode = GPIO_MODE_OUTPUT_OD;
  GPIO_InitStruct.Pull = GPIO_NOPULL;
  GPIO_InitStruct.Speed = GPIO_SPEED_FREQ_LOW;
  HAL_GPIO_Init(GPIOE, &GPIO_InitStruct);

  /*Configure GPIO pins : NTC_PullUp_EN_6_Pin NTC_PullUp_EN_7_Pin */
  GPIO_InitStruct.Pin = NTC_PullUp_EN_6_Pin|NTC_PullUp_EN_7_Pin;
  GPIO_InitStruct.Mode = GPIO_MODE_OUTPUT_OD;
  GPIO_InitStruct.Pull = GPIO_NOPULL;
  GPIO_InitStruct.Speed = GPIO_SPEED_FREQ_LOW;
  HAL_GPIO_Init(GPIOB, &GPIO_InitStruct);

  /*Configure GPIO pin : AD_Buf_VDD_15_Pin */
  GPIO_InitStruct.Pin = AD_Buf_VDD_15_Pin;
  GPIO_InitStruct.Mode = GPIO_MODE_OUTPUT_PP;
  GPIO_InitStruct.Pull = GPIO_NOPULL;
  GPIO_InitStruct.Speed = GPIO_SPEED_FREQ_LOW;
  HAL_GPIO_Init(AD_Buf_VDD_15_GPIO_Port, &GPIO_InitStruct);

  /*Configure GPIO pins : AD_Buf_VDD_14_Pin AD_Buf_VDD_13_Pin AD_Buf_VDD_12_Pin AD_Buf_VDD_11_Pin
                           AD_Buf_VDD_10_Pin AD_Buf_VDD_9_Pin AD_Buf_VDD_8_Pin AD_Buf_VDD_7_Pin
                           Mux_0_S_Pin Mux_1_S_Pin Mux_2_S_Pin Mux_3_S_Pin
                           PD6 */
  GPIO_InitStruct.Pin = AD_Buf_VDD_14_Pin|AD_Buf_VDD_13_Pin|AD_Buf_VDD_12_Pin|AD_Buf_VDD_11_Pin
                          |AD_Buf_VDD_10_Pin|AD_Buf_VDD_9_Pin|AD_Buf_VDD_8_Pin|AD_Buf_VDD_7_Pin
                          |Mux_0_S_Pin|Mux_1_S_Pin|Mux_2_S_Pin|Mux_3_S_Pin
                          |GPIO_PIN_6;
  GPIO_InitStruct.Mode = GPIO_MODE_OUTPUT_PP;
  GPIO_InitStruct.Pull = GPIO_NOPULL;
  GPIO_InitStruct.Speed = GPIO_SPEED_FREQ_LOW;
  HAL_GPIO_Init(GPIOD, &GPIO_InitStruct);

  /*Configure GPIO pins : AD_Buf_VDD_6_Pin AD_Buf_VDD_5_Pin AD_Buf_VDD_4_Pin AD_Buf_VDD_3_Pin */
  GPIO_InitStruct.Pin = AD_Buf_VDD_6_Pin|AD_Buf_VDD_5_Pin|AD_Buf_VDD_4_Pin|AD_Buf_VDD_3_Pin;
  GPIO_InitStruct.Mode = GPIO_MODE_OUTPUT_PP;
  GPIO_InitStruct.Pull = GPIO_NOPULL;
  GPIO_InitStruct.Speed = GPIO_SPEED_FREQ_LOW;
  HAL_GPIO_Init(GPIOC, &GPIO_InitStruct);

  /*Configure GPIO pins : AD_Buf_VDD_2_Pin AD_Buf_VDD_1_Pin AD_Buf_VDD_0_Pin */
  GPIO_InitStruct.Pin = AD_Buf_VDD_2_Pin|AD_Buf_VDD_1_Pin|AD_Buf_VDD_0_Pin;
  GPIO_InitStruct.Mode = GPIO_MODE_OUTPUT_PP;
  GPIO_InitStruct.Pull = GPIO_NOPULL;
  GPIO_InitStruct.Speed = GPIO_SPEED_FREQ_LOW;
  HAL_GPIO_Init(GPIOA, &GPIO_InitStruct);

  /*Configure GPIO pins : MCU_Freq_3_Pin MCU_Freq_2_Pin */
  GPIO_InitStruct.Pin = MCU_Freq_3_Pin|MCU_Freq_2_Pin;
  GPIO_InitStruct.Mode = GPIO_MODE_IT_RISING;
  GPIO_InitStruct.Pull = GPIO_NOPULL;
  HAL_GPIO_Init(GPIOB, &GPIO_InitStruct);

  /*Configure GPIO pins : MCU_Freq_1_Pin MCU_Freq_0_Pin */
  GPIO_InitStruct.Pin = MCU_Freq_1_Pin|MCU_Freq_0_Pin;
  GPIO_InitStruct.Mode = GPIO_MODE_IT_RISING;
  GPIO_InitStruct.Pull = GPIO_NOPULL;
  HAL_GPIO_Init(GPIOE, &GPIO_InitStruct);

  /* EXTI interrupt init*/
  HAL_NVIC_SetPriority(EXTI0_IRQn, 0, 0);
  HAL_NVIC_EnableIRQ(EXTI0_IRQn);

  HAL_NVIC_SetPriority(EXTI1_IRQn, 0, 0);
  HAL_NVIC_EnableIRQ(EXTI1_IRQn);

  HAL_NVIC_SetPriority(EXTI9_5_IRQn, 0, 0);
  HAL_NVIC_EnableIRQ(EXTI9_5_IRQn);

}

/* USER CODE BEGIN 4 */
void CanDataTx_CAN(uint16_t STDID)
{
	Tx1Header.StdId = STDID;
	Tx1Header.IDE = CAN_ID_STD;
	Tx1Header.RTR = CAN_RTR_DATA;
	Tx1Header.DLC = CAN_BUFFER_SIZE;
	Tx1Header.TransmitGlobalTime = DISABLE;
}

void ADC_ValueAverage(void){

	if(averageCnt_ms < averageCount){
		averageTemp = averageTemp + AD_DMA[channel];
		averageCnt_ms++;
	}
	else{
		averageValue[channel] = averageTemp / averageCount;
		averageCnt_ms = 0;
		averageTemp = 0;
		if(channel < 16){
			channel++;
		}
		else{
			channel = 0;
		}
	}
}
/*
void HAL_CAN_RxFifo0MsgPendingCallback(CAN_HandleTypeDef *hcan1)
{
  if (HAL_CAN_GetRxMessage(hcan1, CAN_RX_FIFO0, &RxHeader, RxData) != HAL_OK)
  {
    Error_Handler();
  }
	CAN_BUFFER_SIZE = RxHeader.DLC;
	CanDataTx_CAN(RxHeader.StdId);
	HAL_CAN_AddTxMessage(&hcan2, &Tx1Header, RxData, &mailbox);

}

void HAL_CAN_RxFifo1MsgPendingCallback(CAN_HandleTypeDef *hcan2)
{
  if (HAL_CAN_GetRxMessage(hcan2, CAN_RX_FIFO1, &RxHeader1, RxData1) != HAL_OK)
  {
    Error_Handler();
  }
	CAN_BUFFER_SIZE = RxHeader1.DLC;
	CanDataTx_CAN(RxHeader1.StdId);
	HAL_CAN_AddTxMessage(&hcan1, &Tx1Header, RxData1, &mailbox);

}
*/
/* USER CODE END 4 */

void Error_Handler(void)
{
  __disable_irq();
  while (1)
  {
  }
}
